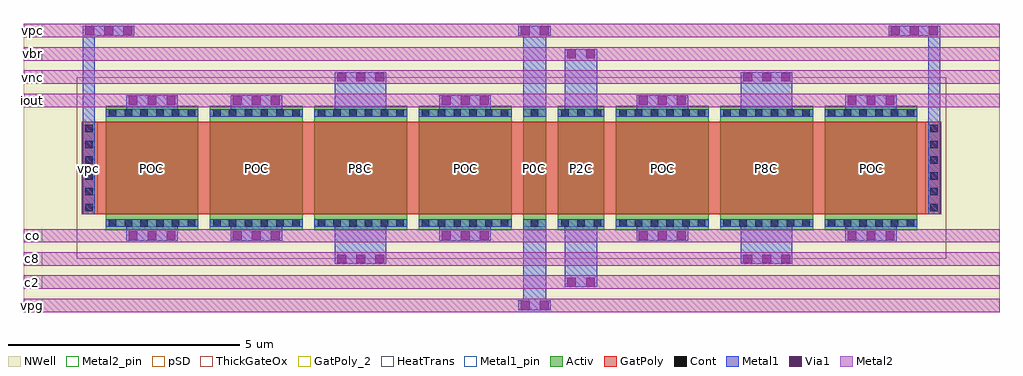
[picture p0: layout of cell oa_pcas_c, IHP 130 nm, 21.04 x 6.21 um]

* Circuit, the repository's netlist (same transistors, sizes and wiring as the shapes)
* SPDX-FileCopyrightText: 2026 Christoph Maier
* SPDX-License-Identifier: Apache-2.0
* oa_pcas_c: oa_pcas (pad_buffer_cells.cdl) without its ntap ring, 2026-10-28, Claude (Opus 5.5).
* Devices identical to oa_pcas. The bulk is the cell's NWell (internal net nw, no vdd port): the parent merges the
* NWell with the other PMOS cells and ties it to vdd through its tap segments. In the assembled oa_core_pd, nw = vdd.
.SUBCKT oa_pcas_c c2 c8 co iout vbr vnc vpc vpg
Moa_pcas_POC_0 iout vpc co nw sg13_hv_pmos w=2u l=2u ng=1 m=1
Moa_pcas_POC_1 iout vpc co nw sg13_hv_pmos w=2u l=2u ng=1 m=1
Moa_pcas_P8C_2 vnc vpc c8 nw sg13_hv_pmos w=2u l=2u ng=1 m=1
Moa_pcas_POC_3 iout vpc co nw sg13_hv_pmos w=2u l=2u ng=1 m=1
Moa_pcas_P0C_4 vpc vpc vpg nw sg13_hv_pmos w=0.5u l=2u ng=1 m=1
Moa_pcas_P2C_5 vbr vpc c2 nw sg13_hv_pmos w=1u l=2u ng=1 m=1
Moa_pcas_POC_6 iout vpc co nw sg13_hv_pmos w=2u l=2u ng=1 m=1
Moa_pcas_P8C_7 vnc vpc c8 nw sg13_hv_pmos w=2u l=2u ng=1 m=1
Moa_pcas_POC_8 iout vpc co nw sg13_hv_pmos w=2u l=2u ng=1 m=1
.ENDS oa_pcas_c

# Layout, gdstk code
from math import pi, radians
import gdstk
lib = gdstk.Library(unit=1e-6, precision=1e-09)
def R(c, l, rs):  # rectangles x0, y0, x1, y1
    for r in rs: c.add(gdstk.rectangle(r[:2], r[2:], *l))
def A(c, l, x, y, w, h, nx, ny, dx, dy):  # array of equal rectangles
    R(c, l, [(x+i*dx, y+j*dy, x+i*dx+w, y+j*dy+h) for i in range(nx) for j in range(ny)])
Activ = (1, 0)
GatPoly = (5, 0)
GatPoly_2 = (5, 2)
Cont = (6, 0)
Metal1 = (8, 0)
Metal1_pin = (8, 2)
Metal2 = (10, 0)
Metal2_pin = (10, 2)
pSD = (14, 0)
Via1 = (19, 0)
NWell = (31, 0)
ThickGateOx = (44, 0)
HeatTrans = (51, 0)

pmoshv_10 = lib.new_cell('pmosHV$10')
R(pmoshv_10, Activ, [(0,0,0.3,0.3), (0,0,2.68,2), (2.38,0,2.68,0.3)])
R(pmoshv_10, GatPoly, [(0.34,-0.18,2.34,2.18)])
R(pmoshv_10, GatPoly_2, [(0.34,-0.18,2.34,2.18)])
A(pmoshv_10, Cont, 0.07, 0.07, 0.16, 0.16, 1, 6, 0, 0.34)
A(pmoshv_10, Cont, 2.45, 0.07, 0.16, 0.16, 1, 6, 0, 0.34)
R(pmoshv_10, Metal1, [(0.07,0,0.23,2), (2.45,0,2.61,2)])
R(pmoshv_10, Metal1_pin, [(0.07,0,0.23,2), (2.45,0,2.61,2)])
R(pmoshv_10, pSD, [(-0.18,-0.4,2.86,2.4)])
R(pmoshv_10, NWell, [(-0.62,-0.62,3.3,2.62)])
R(pmoshv_10, ThickGateOx, [(-0.62,-0.62,3.3,2.62)])
R(pmoshv_10, HeatTrans, [(0.34,-0.18,2.34,2.18)])
pmoshv_10.add(gdstk.Label('pmosHV', (1.34,1), layer=63, texttype=0))
pmoshv_10.add(gdstk.Label('pmos', (1.34,1), layer=51, texttype=0))

pmoshv_11 = lib.new_cell('pmosHV$11')
R(pmoshv_11, Activ, [(0,0,0.3,0.3), (0,0,2.68,0.5), (2.38,0,2.68,0.3)])
R(pmoshv_11, GatPoly, [(0.34,-0.18,2.34,0.68)])
R(pmoshv_11, GatPoly_2, [(0.34,-0.18,2.34,0.68)])
R(pmoshv_11, Cont, [(0.07,0.17,0.23,0.33), (2.45,0.17,2.61,0.33)])
R(pmoshv_11, Metal1, [(0.07,0,0.23,0.5), (2.45,0,2.61,0.5)])
R(pmoshv_11, Metal1_pin, [(0.07,0,0.23,0.5), (2.45,0,2.61,0.5)])
R(pmoshv_11, pSD, [(-0.18,-0.4,2.86,0.9)])
R(pmoshv_11, NWell, [(-0.62,-0.62,3.3,1.12)])
R(pmoshv_11, ThickGateOx, [(-0.62,-0.62,3.3,1.12)])
R(pmoshv_11, HeatTrans, [(0.34,-0.18,2.34,0.68)])
pmoshv_11.add(gdstk.Label('pmosHV', (1.34,0.25), layer=63, texttype=0))
pmoshv_11.add(gdstk.Label('pmos', (1.34,0.25), layer=51, texttype=0))

pmoshv_12 = lib.new_cell('pmosHV$12')
R(pmoshv_12, Activ, [(0,0,0.3,0.3), (0,0,2.68,1), (2.38,0,2.68,0.3)])
R(pmoshv_12, GatPoly, [(0.34,-0.18,2.34,1.18)])
R(pmoshv_12, GatPoly_2, [(0.34,-0.18,2.34,1.18)])
A(pmoshv_12, Cont, 0.07, 0.07, 0.16, 0.16, 1, 3, 0, 0.35)
A(pmoshv_12, Cont, 2.45, 0.07, 0.16, 0.16, 1, 3, 0, 0.35)
R(pmoshv_12, Metal1, [(0.07,0,0.23,1), (2.45,0,2.61,1)])
R(pmoshv_12, Metal1_pin, [(0.07,0,0.23,1), (2.45,0,2.61,1)])
R(pmoshv_12, pSD, [(-0.18,-0.4,2.86,1.4)])
R(pmoshv_12, NWell, [(-0.62,-0.62,3.3,1.62)])
R(pmoshv_12, ThickGateOx, [(-0.62,-0.62,3.3,1.62)])
R(pmoshv_12, HeatTrans, [(0.34,-0.18,2.34,1.18)])
pmoshv_12.add(gdstk.Label('pmosHV', (1.34,0.5), layer=63, texttype=0))
pmoshv_12.add(gdstk.Label('pmos', (1.34,0.5), layer=51, texttype=0))

oa_pcas_c = lib.new_cell('oa_pcas_c')
R(oa_pcas_c, GatPoly, [(-0.51,0.34,-0.1,2.34), (17.6,0.34,18.01,2.34)])
A(oa_pcas_c, Cont, -0.44, 0.41, 0.16, 0.16, 1, 6, 0, 0.34)
A(oa_pcas_c, Cont, 17.78, 0.41, 0.16, 0.16, 1, 6, 0, 0.34)
R(oa_pcas_c, Metal1, [(8.9,-1.725,9.6,-1.515), (9,-1.725,9.5,0.23), (9.9,-1.225,10.6,0.23), (4.945,-0.725,6.055,0.23), (13.695,-0.725,14.805,0.23), (0.445,-0.225,1.555,0.23), (2.695,-0.225,3.805,0.23), (7.195,-0.225,8.305,0.23), (11.445,-0.225,12.555,0.23), (15.945,-0.225,17.055,0.23), (-0.49,0.34,-0.23,4.405), (17.73,0.34,17.99,4.405), (0.445,2.45,1.555,2.905), (2.695,2.45,3.805,2.905), (4.945,2.45,6.055,3.405), (7.195,2.45,8.305,2.905), (9,2.45,9.5,4.405), (9.9,2.45,10.6,3.905), (11.445,2.45,12.555,2.905), (13.695,2.45,14.805,3.405), (15.945,2.45,17.055,2.905), (-0.49,4.195,0.62,4.405), (8.9,4.195,9.6,4.405), (16.88,4.195,17.99,4.405)])
R(oa_pcas_c, Metal1_pin, [(-0.49,0.34,-0.23,2.34), (17.73,0.34,17.99,2.34)])
A(oa_pcas_c, Metal2_pin, -1.77, -1.765, 0.4, 0.29, 1, 4, 0, 0.5)
A(oa_pcas_c, Metal2_pin, -1.77, 2.655, 0.4, 0.29, 1, 4, 0, 0.5)
R(oa_pcas_c, pSD, [(-0.62,-0.62,18.12,3.3)])
A(oa_pcas_c, Via1, 4.995, -0.715, 0.19, 0.19, 3, 2, 0.41, 3.92)
A(oa_pcas_c, Via1, 13.745, -0.715, 0.19, 0.19, 3, 2, 0.41, 3.92)
A(oa_pcas_c, Via1, 0.495, -0.215, 0.19, 0.19, 3, 2, 0.41, 2.92)
A(oa_pcas_c, Via1, 2.745, -0.215, 0.19, 0.19, 3, 2, 0.41, 2.92)
A(oa_pcas_c, Via1, 7.245, -0.215, 0.19, 0.19, 3, 2, 0.41, 2.92)
A(oa_pcas_c, Via1, 11.495, -0.215, 0.19, 0.19, 3, 2, 0.41, 2.92)
A(oa_pcas_c, Via1, 15.995, -0.215, 0.19, 0.19, 3, 2, 0.41, 2.92)
A(oa_pcas_c, Via1, -0.44, 4.205, 0.19, 0.19, 3, 1, 0.41, 0)
A(oa_pcas_c, Via1, 16.93, 4.205, 0.19, 0.19, 3, 1, 0.41, 0)
R(oa_pcas_c, Via1, [(8.95,-1.715,9.14,-1.525), (9.36,-1.715,9.55,-1.525), (9.95,-1.215,10.14,-1.025), (10.36,-1.215,10.55,-1.025), (9.95,3.705,10.14,3.895), (10.36,3.705,10.55,3.895), (8.95,4.205,9.14,4.395), (9.36,4.205,9.55,4.395)])
R(oa_pcas_c, NWell, [(-1.77,-1.765,19.27,4.445)])
R(oa_pcas_c, ThickGateOx, [(-0.62,-0.62,18.12,3.3)])
oa_pcas_c.add(gdstk.FlexPath([(-1.625,-0.12),(19.125,-0.12)], 0.29, ends="extended", simple_path=True, layer=10, datatype=0))  # Metal2
oa_pcas_c.add(gdstk.FlexPath([(-1.625,-0.62),(19.125,-0.62)], 0.29, ends="extended", simple_path=True, layer=10, datatype=0))  # Metal2
oa_pcas_c.add(gdstk.FlexPath([(-1.625,-1.12),(19.125,-1.12)], 0.29, ends="extended", simple_path=True, layer=10, datatype=0))  # Metal2
oa_pcas_c.add(gdstk.FlexPath([(-1.625,-1.62),(19.125,-1.62)], 0.29, ends="extended", simple_path=True, layer=10, datatype=0))  # Metal2
oa_pcas_c.add(gdstk.FlexPath([(-1.625,2.8),(19.125,2.8)], 0.29, ends="extended", simple_path=True, layer=10, datatype=0))  # Metal2
oa_pcas_c.add(gdstk.FlexPath([(-1.625,3.3),(19.125,3.3)], 0.29, ends="extended", simple_path=True, layer=10, datatype=0))  # Metal2
oa_pcas_c.add(gdstk.FlexPath([(-1.625,3.8),(19.125,3.8)], 0.29, ends="extended", simple_path=True, layer=10, datatype=0))  # Metal2
oa_pcas_c.add(gdstk.FlexPath([(-1.625,4.3),(19.125,4.3)], 0.29, ends="extended", simple_path=True, layer=10, datatype=0))  # Metal2
oa_pcas_c.add(gdstk.Reference(pmoshv_10, (0,2.68), rotation=3*pi/2))
oa_pcas_c.add(gdstk.Reference(pmoshv_10, (2.25,2.68), rotation=3*pi/2))
oa_pcas_c.add(gdstk.Reference(pmoshv_10, (4.5,2.68), rotation=3*pi/2))
oa_pcas_c.add(gdstk.Reference(pmoshv_10, (6.75,2.68), rotation=3*pi/2))
oa_pcas_c.add(gdstk.Reference(pmoshv_11, (9,2.68), rotation=3*pi/2))
oa_pcas_c.add(gdstk.Reference(pmoshv_12, (9.75,2.68), rotation=3*pi/2))
oa_pcas_c.add(gdstk.Reference(pmoshv_10, (11,2.68), rotation=3*pi/2))
oa_pcas_c.add(gdstk.Reference(pmoshv_10, (13.25,2.68), rotation=3*pi/2))
oa_pcas_c.add(gdstk.Reference(pmoshv_10, (15.5,2.68), rotation=3*pi/2))
oa_pcas_c.add(gdstk.Label('POC', (1,1.34), layer=63, texttype=0))
oa_pcas_c.add(gdstk.Label('POC', (3.25,1.34), layer=63, texttype=0))
oa_pcas_c.add(gdstk.Label('P8C', (5.5,1.34), layer=63, texttype=0))
oa_pcas_c.add(gdstk.Label('POC', (7.75,1.34), layer=63, texttype=0))
oa_pcas_c.add(gdstk.Label('P0C', (9.25,1.34), layer=63, texttype=0))
oa_pcas_c.add(gdstk.Label('P2C', (10.25,1.34), layer=63, texttype=0))
oa_pcas_c.add(gdstk.Label('POC', (12,1.34), layer=63, texttype=0))
oa_pcas_c.add(gdstk.Label('P8C', (14.25,1.34), layer=63, texttype=0))
oa_pcas_c.add(gdstk.Label('POC', (16.5,1.34), layer=63, texttype=0))
oa_pcas_c.add(gdstk.Label('vpc', (-0.36,1.34), layer=8, texttype=25))
oa_pcas_c.add(gdstk.Label('co', (-1.57,-0.12), layer=10, texttype=25))
oa_pcas_c.add(gdstk.Label('c8', (-1.57,-0.62), layer=10, texttype=25))
oa_pcas_c.add(gdstk.Label('c2', (-1.57,-1.12), layer=10, texttype=25))
oa_pcas_c.add(gdstk.Label('vpg', (-1.57,-1.62), layer=10, texttype=25))
oa_pcas_c.add(gdstk.Label('iout', (-1.57,2.8), layer=10, texttype=25))
oa_pcas_c.add(gdstk.Label('vnc', (-1.57,3.3), layer=10, texttype=25))
oa_pcas_c.add(gdstk.Label('vbr', (-1.57,3.8), layer=10, texttype=25))
oa_pcas_c.add(gdstk.Label('vpc', (-1.57,4.3), layer=10, texttype=25))

lib.write_gds('oa_pcas_c.gds')
